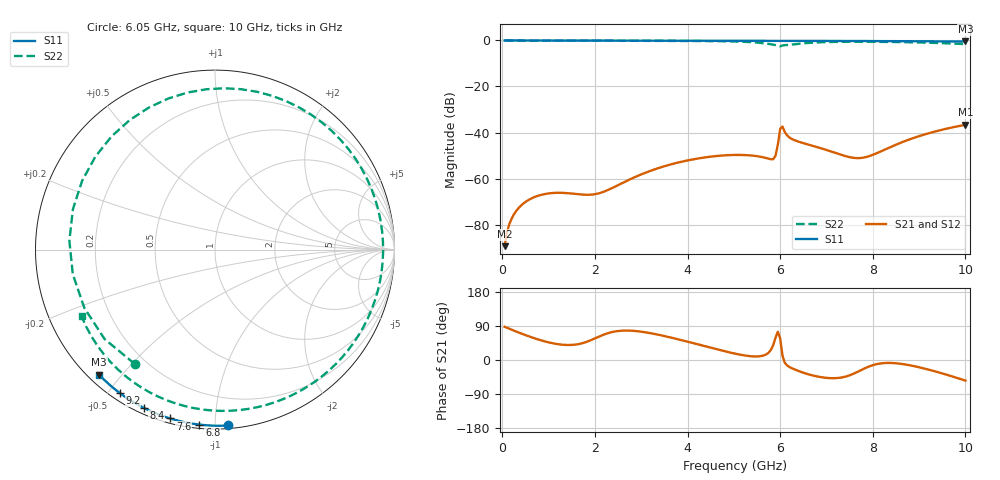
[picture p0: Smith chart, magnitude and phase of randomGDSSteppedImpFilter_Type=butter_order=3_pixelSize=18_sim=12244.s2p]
! freq	dB(S11)	phase(S11)	dB(S12)	phase(S12)
!  dB(S21)	phase(S21)	dB(S22)	phase(S22)
!S-par simulation data
#  GHz  S  DB  R 50
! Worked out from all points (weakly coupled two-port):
!   200 points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, 50 MHz to 10 GHz, reference 50 ohm
!   highest |S21| = -36.65 dB at 10 GHz (marker M1); lowest = -89.4 dB at 50 MHz (marker M2)
!   lowest |S11| = -0.4 dB at 10 GHz (marker M3), VSWR 38.82, Z = 1.53 - j21.8 ohm
!   |S11| at or under -10 dB: nowhere
!   |S22| runs from -2.6 to 0.0 dB; largest |S21 - S12| = 0
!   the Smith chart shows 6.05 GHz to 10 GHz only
!   S11 on the Smith chart (normalised r, x): 6.05 GHz: 0.02, -1.08; 6.8 GHz: 0.02, -0.91; 7.6 GHz: 0.02, -0.77; 8.4 GHz: 0.02, -0.65; 9.2 GHz: 0.03, -0.54; 10 GHz: 0.03, -0.44
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0.05  -0.00 -0.8  -89.37 87.7  -89.37 87.7  -0.01 -4.4
0.85  -0.02 -12.9  -67.02 51.4  -67.02 51.4  -0.08 -69.5
1.75  -0.03 -26.4  -66.99 45.0  -66.99 45.0  -0.12 -128.2
2.55  -0.05 -38.2  -62.36 77.1  -62.36 77.1  -0.15 -170.2
3.4  -0.07 -50.3  -55.26 65.9  -55.26 65.9  -0.18 149.0
4.35  -0.09 -63.5  -50.89 37.2  -50.89 37.2  -0.26 99.6
5.05  -0.11 -72.8  -49.72 16.1  -49.72 16.1  -0.46 50.4
5.4  -0.12 -77.4  -50.02 9.6  -50.02 9.6  -0.76 13.1
5.6  -0.13 -80.0  -50.61 10.7  -50.61 10.7  -1.11 -17.2
5.85  -0.14 -83.2  -51.58 39.2  -51.58 39.2  -1.83 -71.7
6.05  -0.16 -85.7  -37.42 11.5  -37.42 11.5  -2.18 -125.1
6.15  -0.16 -87.0  -41.24 -14.4  -41.24 -14.4  -1.97 -156.0
6.3  -0.16 -88.9  -43.26 -24.3  -43.26 -24.3  -1.69 164.2
6.5  -0.17 -91.4  -44.60 -33.5  -44.60 -33.5  -1.27 123.3
6.7  -0.18 -93.9  -45.75 -40.7  -45.75 -40.7  -0.97 93.1
6.8  -0.19 -95.1  -46.34 -43.4  -46.34 -43.4  -0.86 80.7
7.2  -0.21 -100.0  -48.90 -47.9  -48.90 -47.9  -0.64 41.0
7.6  -0.23 -104.8  -51.03 -35.4  -51.03 -35.4  -0.57 9.8
8.35  -0.29 -113.7  -46.58 -7.7  -46.58 -7.7  -0.65 -40.2
8.4  -0.29 -114.3  -46.14 -7.8  -46.14 -7.8  -0.66 -43.4
9.2  -0.36 -123.6  -40.36 -25.2  -40.36 -25.2  -0.97 -94.2
10  -0.45 -132.9  -36.65 -54.4  -36.65 -54.4  -1.61 -153.5
